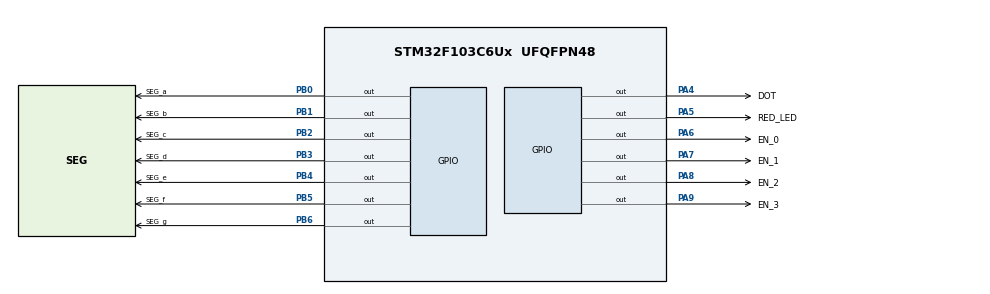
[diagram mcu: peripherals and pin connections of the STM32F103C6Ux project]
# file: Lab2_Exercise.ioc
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Mcu.Family=STM32F1
Mcu.Name=STM32F103C6Ux
Mcu.Package=UFQFPN48
NVIC.PriorityGroup=NVIC_PRIORITYGROUP_4
NVIC.TIM2_IRQn=true\:0\:0\:false\:false\:true\:true\:true
PA4.GPIO_Label=DOT
PA4.Signal=GPIO_Output
PA5.GPIO_Label=RED_LED
PA5.Signal=GPIO_Output
PA6.GPIO_Label=EN_0
PA6.Signal=GPIO_Output
PA7.GPIO_Label=EN_1
PA7.Signal=GPIO_Output
PA8.GPIO_Label=EN_2
PA8.Signal=GPIO_Output
PA9.GPIO_Label=EN_3
PA9.Signal=GPIO_Output
PB0.GPIO_Label=SEG_a
PB0.Signal=GPIO_Output
PB1.GPIO_Label=SEG_b
PB1.Signal=GPIO_Output
PB2.GPIO_Label=SEG_c
PB2.Signal=GPIO_Output
PB3.GPIO_Label=SEG_d
PB3.Signal=GPIO_Output
PB4.GPIO_Label=SEG_e
PB4.Signal=GPIO_Output
PB5.GPIO_Label=SEG_f
PB5.Signal=GPIO_Output
PB6.GPIO_Label=SEG_g
PB6.Signal=GPIO_Output
ProjectManager.HeapSize=0x200
ProjectManager.StackSize=0x400
ProjectManager.TargetToolchain=STM32CubeIDE
RCC.APB1Freq_Value=8000000
RCC.APB2Freq_Value=8000000
TIM2.Period=9
TIM2.Prescaler=7999
VP_SYS_VS_ND.Mode=No_Debug
VP_TIM2_VS_ClockSourceINT.Mode=Internal
board=custom

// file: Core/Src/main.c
/* USER CODE BEGIN Header */
/**
  ******************************************************************************
  * @file           : main.c
  * @brief          : Main program body
  ******************************************************************************
  * @attention
  *
  * <h2><center>&copy; Copyright (c) 2024 STMicroelectronics.
  * All rights reserved.</center></h2>
  *
  * This software component is licensed by ST under BSD 3-Clause license,
  * the "License"; You may not use this file except in compliance with the
  * License. You may obtain a copy of the License at:
  *                        opensource.org/licenses/BSD-3-Clause
  *
  ******************************************************************************
  */
/* USER CODE END Header */
#include "main.h"

TIM_HandleTypeDef htim2;

void SystemClock_Config(void);
static void MX_GPIO_Init(void);
static void MX_TIM2_Init(void);

/* USER CODE BEGIN 0 */
	void clear7SEG() {
		HAL_GPIO_WritePin(SEG_a_GPIO_Port, SEG_a_Pin, GPIO_PIN_SET);
		HAL_GPIO_WritePin(SEG_b_GPIO_Port, SEG_b_Pin, GPIO_PIN_SET);
		HAL_GPIO_WritePin(SEG_c_GPIO_Port, SEG_c_Pin, GPIO_PIN_SET);
		HAL_GPIO_WritePin(SEG_d_GPIO_Port, SEG_d_Pin, GPIO_PIN_SET);
		HAL_GPIO_WritePin(SEG_e_GPIO_Port, SEG_e_Pin, GPIO_PIN_SET);
		HAL_GPIO_WritePin(SEG_f_GPIO_Port, SEG_f_Pin, GPIO_PIN_SET);
		HAL_GPIO_WritePin(SEG_g_GPIO_Port, SEG_g_Pin, GPIO_PIN_SET);
	}

	void display7SEG(int num) {
		  switch (num) {
		  case 0:
			  HAL_GPIO_WritePin(SEG_a_GPIO_Port, SEG_a_Pin, GPIO_PIN_RESET);
			  HAL_GPIO_WritePin(SEG_b_GPIO_Port, SEG_b_Pin, GPIO_PIN_RESET);
			  HAL_GPIO_WritePin(SEG_c_GPIO_Port, SEG_c_Pin, GPIO_PIN_RESET);
			  HAL_GPIO_WritePin(SEG_d_GPIO_Port, SEG_d_Pin, GPIO_PIN_RESET);
			  HAL_GPIO_WritePin(SEG_e_GPIO_Port, SEG_e_Pin, GPIO_PIN_RESET);
			  HAL_GPIO_WritePin(SEG_f_GPIO_Port, SEG_f_Pin, GPIO_PIN_RESET);
			  HAL_GPIO_WritePin(SEG_g_GPIO_Port, SEG_g_Pin, GPIO_PIN_SET);

			  break;
		  case 1:
			  HAL_GPIO_WritePin(SEG_a_GPIO_Port, SEG_a_Pin, GPIO_PIN_SET);
			  HAL_GPIO_WritePin(SEG_b_GPIO_Port, SEG_b_Pin, GPIO_PIN_RESET);
			  HAL_GPIO_WritePin(SEG_c_GPIO_Port, SEG_c_Pin, GPIO_PIN_RESET);
			  HAL_GPIO_WritePin(SEG_d_GPIO_Port, SEG_d_Pin, GPIO_PIN_SET);
			  HAL_GPIO_WritePin(SEG_e_GPIO_Port, SEG_e_Pin, GPIO_PIN_SET);
			  HAL_GPIO_WritePin(SEG_f_GPIO_Port, SEG_f_Pin, GPIO_PIN_SET);
			  HAL_GPIO_WritePin(SEG_g_GPIO_Port, SEG_g_Pin, GPIO_PIN_SET);

			  break;
		  case 2:
			  HAL_GPIO_WritePin(SEG_a_GPIO_Port, SEG_a_Pin, GPIO_PIN_RESET);
			  HAL_GPIO_WritePin(SEG_b_GPIO_Port, SEG_b_Pin, GPIO_PIN_RESET);
			  HAL_GPIO_WritePin(SEG_c_GPIO_Port, SEG_c_Pin, GPIO_PIN_SET);
			  HAL_GPIO_WritePin(SEG_d_GPIO_Port, SEG_d_Pin, GPIO_PIN_RESET);
			  HAL_GPIO_WritePin(SEG_e_GPIO_Port, SEG_e_Pin, GPIO_PIN_RESET);
			  HAL_GPIO_WritePin(SEG_f_GPIO_Port, SEG_f_Pin, GPIO_PIN_SET);
			  HAL_GPIO_WritePin(SEG_g_GPIO_Port, SEG_g_Pin, GPIO_PIN_RESET);

			  break;
		  case 3:
			  HAL_GPIO_WritePin(SEG_a_GPIO_Port, SEG_a_Pin, GPIO_PIN_RESET);
			  HAL_GPIO_WritePin(SEG_b_GPIO_Port, SEG_b_Pin, GPIO_PIN_RESET);
			  HAL_GPIO_WritePin(SEG_c_GPIO_Port, SEG_c_Pin, GPIO_PIN_RESET);
			  HAL_GPIO_WritePin(SEG_d_GPIO_Port, SEG_d_Pin, GPIO_PIN_RESET);
			  HAL_GPIO_WritePin(SEG_e_GPIO_Port, SEG_e_Pin, GPIO_PIN_SET);
			  HAL_GPIO_WritePin(SEG_f_GPIO_Port, SEG_f_Pin, GPIO_PIN_SET);
			  HAL_GPIO_WritePin(SEG_g_GPIO_Port, SEG_g_Pin, GPIO_PIN_RESET);

			  break;
		  case 4:
			  HAL_GPIO_WritePin(SEG_a_GPIO_Port, SEG_a_Pin, GPIO_PIN_SET);
			  HAL_GPIO_WritePin(SEG_b_GPIO_Port, SEG_b_Pin, GPIO_PIN_RESET);
			  HAL_GPIO_WritePin(SEG_c_GPIO_Port, SEG_c_Pin, GPIO_PIN_RESET);
			  HAL_GPIO_WritePin(SEG_d_GPIO_Port, SEG_d_Pin, GPIO_PIN_SET);
			  HAL_GPIO_WritePin(SEG_e_GPIO_Port, SEG_e_Pin, GPIO_PIN_SET);
			  HAL_GPIO_WritePin(SEG_f_GPIO_Port, SEG_f_Pin, GPIO_PIN_RESET);
			  HAL_GPIO_WritePin(SEG_g_GPIO_Port, SEG_g_Pin, GPIO_PIN_RESET);

			  break;
		  case 5:
			  HAL_GPIO_WritePin(SEG_a_GPIO_Port, SEG_a_Pin, GPIO_PIN_RESET);
			  HAL_GPIO_WritePin(SEG_b_GPIO_Port, SEG_b_Pin, GPIO_PIN_SET);
			  HAL_GPIO_WritePin(SEG_c_GPIO_Port, SEG_c_Pin, GPIO_PIN_RESET);
			  HAL_GPIO_WritePin(SEG_d_GPIO_Port, SEG_d_Pin, GPIO_PIN_RESET);
			  HAL_GPIO_WritePin(SEG_e_GPIO_Port, SEG_e_Pin, GPIO_PIN_SET);
			  HAL_GPIO_WritePin(SEG_f_GPIO_Port, SEG_f_Pin, GPIO_PIN_RESET);
			  HAL_GPIO_WritePin(SEG_g_GPIO_Port, SEG_g_Pin, GPIO_PIN_RESET);

			  break;
		  case 6:
			  HAL_GPIO_WritePin(SEG_a_GPIO_Port, SEG_a_Pin, GPIO_PIN_RESET);
			  HAL_GPIO_WritePin(SEG_b_GPIO_Port, SEG_b_Pin, GPIO_PIN_SET);
			  HAL_GPIO_WritePin(SEG_c_GPIO_Port, SEG_c_Pin, GPIO_PIN_RESET);
			  HAL_GPIO_WritePin(SEG_d_GPIO_Port, SEG_d_Pin, GPIO_PIN_RESET);
			  HAL_GPIO_WritePin(SEG_e_GPIO_Port, SEG_e_Pin, GPIO_PIN_RESET);
			  HAL_GPIO_WritePin(SEG_f_GPIO_Port, SEG_f_Pin, GPIO_PIN_RESET);
			  HAL_GPIO_WritePin(SEG_g_GPIO_Port, SEG_g_Pin, GPIO_PIN_RESET);

			  break;

		  case 7:
			  HAL_GPIO_WritePin(SEG_a_GPIO_Port, SEG_a_Pin, GPIO_PIN_RESET);
			  HAL_GPIO_WritePin(SEG_b_GPIO_Port, SEG_b_Pin, GPIO_PIN_RESET);
			  HAL_GPIO_WritePin(SEG_c_GPIO_Port, SEG_c_Pin, GPIO_PIN_RESET);
			  HAL_GPIO_WritePin(SEG_d_GPIO_Port, SEG_d_Pin, GPIO_PIN_SET);
			  HAL_GPIO_WritePin(SEG_e_GPIO_Port, SEG_e_Pin, GPIO_PIN_SET);
			  HAL_GPIO_WritePin(SEG_f_GPIO_Port, SEG_f_Pin, GPIO_PIN_SET);
			  HAL_GPIO_WritePin(SEG_g_GPIO_Port, SEG_g_Pin, GPIO_PIN_SET);

			  break;
		  case 8:
			  HAL_GPIO_WritePin(SEG_a_GPIO_Port, SEG_a_Pin, GPIO_PIN_RESET);
			  HAL_GPIO_WritePin(SEG_b_GPIO_Port, SEG_b_Pin, GPIO_PIN_RESET);
			  HAL_GPIO_WritePin(SEG_c_GPIO_Port, SEG_c_Pin, GPIO_PIN_RESET);
			  HAL_GPIO_WritePin(SEG_d_GPIO_Port, SEG_d_Pin, GPIO_PIN_RESET);
			  HAL_GPIO_WritePin(SEG_e_GPIO_Port, SEG_e_Pin, GPIO_PIN_RESET);
			  HAL_GPIO_WritePin(SEG_f_GPIO_Port, SEG_f_Pin, GPIO_PIN_RESET);
			  HAL_GPIO_WritePin(SEG_g_GPIO_Port, SEG_g_Pin, GPIO_PIN_RESET);

			  break;
		  case 9:
			  HAL_GPIO_WritePin(SEG_a_GPIO_Port, SEG_a_Pin, GPIO_PIN_RESET);
			  HAL_GPIO_WritePin(SEG_b_GPIO_Port, SEG_b_Pin, GPIO_PIN_RESET);
			  HAL_GPIO_WritePin(SEG_c_GPIO_Port, SEG_c_Pin, GPIO_PIN_RESET);
			  HAL_GPIO_WritePin(SEG_d_GPIO_Port, SEG_d_Pin, GPIO_PIN_RESET);
			  HAL_GPIO_WritePin(SEG_e_GPIO_Port, SEG_e_Pin, GPIO_PIN_SET);
			  HAL_GPIO_WritePin(SEG_f_GPIO_Port, SEG_f_Pin, GPIO_PIN_RESET);
			  HAL_GPIO_WritePin(SEG_g_GPIO_Port, SEG_g_Pin, GPIO_PIN_RESET);

			  break;
		  default:
			  clear7SEG();
			  break;
		  }
	  }

	void initState () {
		clear7SEG();

		HAL_GPIO_WritePin(EN_0_GPIO_Port, EN_0_Pin, GPIO_PIN_SET);
		HAL_GPIO_WritePin(EN_1_GPIO_Port, EN_1_Pin, GPIO_PIN_SET);
		HAL_GPIO_WritePin(EN_2_GPIO_Port, EN_2_Pin, GPIO_PIN_SET);
		HAL_GPIO_WritePin(EN_3_GPIO_Port, EN_3_Pin, GPIO_PIN_SET);
	}

	const int MAX_LED = 4;
	int ledIdx = 0;
	int ledBuffer[4] = {1,2,3,4};

	void update7SEG(int index) {
		switch (index) {
		case 0:
			// Display the first 7SEG with ledBuffer[0]
			display7SEG(ledBuffer[0]);
			HAL_GPIO_WritePin(EN_0_GPIO_Port, EN_0_Pin, GPIO_PIN_RESET);
			HAL_GPIO_WritePin(EN_1_GPIO_Port, EN_1_Pin, GPIO_PIN_SET);
			HAL_GPIO_WritePin(EN_2_GPIO_Port, EN_2_Pin, GPIO_PIN_SET);
			HAL_GPIO_WritePin(EN_3_GPIO_Port, EN_3_Pin, GPIO_PIN_SET);
			break;
		case 1:
			// Display the second 7SEG with ledBuffer[1]
			display7SEG(ledBuffer[1]);
			HAL_GPIO_WritePin(EN_0_GPIO_Port, EN_0_Pin, GPIO_PIN_SET);
			HAL_GPIO_WritePin(EN_1_GPIO_Port, EN_1_Pin, GPIO_PIN_RESET);
			HAL_GPIO_WritePin(EN_2_GPIO_Port, EN_2_Pin, GPIO_PIN_SET);
			HAL_GPIO_WritePin(EN_3_GPIO_Port, EN_3_Pin, GPIO_PIN_SET);
			break;
		case 2:
			// Display the third 7SEG with ledBuffer[2]
			display7SEG(ledBuffer[2]);
			HAL_GPIO_WritePin(EN_0_GPIO_Port, EN_0_Pin, GPIO_PIN_SET);
			HAL_GPIO_WritePin(EN_1_GPIO_Port, EN_1_Pin, GPIO_PIN_SET);
			HAL_GPIO_WritePin(EN_2_GPIO_Port, EN_2_Pin, GPIO_PIN_RESET);
			HAL_GPIO_WritePin(EN_3_GPIO_Port, EN_3_Pin, GPIO_PIN_SET);
			break;
		case 3:
			// Display the fourth 7SEG with ledBuffer[3]
			display7SEG(ledBuffer[3]);
			HAL_GPIO_WritePin(EN_0_GPIO_Port, EN_0_Pin, GPIO_PIN_SET);
			HAL_GPIO_WritePin(EN_1_GPIO_Port, EN_1_Pin, GPIO_PIN_SET);
			HAL_GPIO_WritePin(EN_2_GPIO_Port, EN_2_Pin, GPIO_PIN_SET);
			HAL_GPIO_WritePin(EN_3_GPIO_Port, EN_3_Pin, GPIO_PIN_RESET);
			break;
		}
	}

	void updateClockBuffer(int hour, int minute) {
		ledBuffer[0] = hour / 10;
		ledBuffer[1] = hour % 10;
		ledBuffer[2] = minute / 10;
		ledBuffer[3] = minute % 10;
	}
//-----------Ex8-----------------
	int TIMER_CYCLE = 10;

	int timer0_counter = 0;
	int timer0_flag = 1;

	void setTimer0(int duration) {
		timer0_counter = duration / TIMER_CYCLE;
		timer0_flag = 0;
	}

	int timer1_counter = 0;
	int timer1_flag = 1;

	void setTimer1(int duration) {
		timer1_counter = duration / TIMER_CYCLE;
		timer1_flag = 0;
	}

	void timerRun() {
		if (timer0_counter > 0) {
			timer0_counter--;
			if (timer0_counter == 0) timer0_flag = 1;
		}
		if (timer1_counter > 0) {
			timer1_counter--;
			if (timer1_counter == 0) timer1_flag = 1;
		}
	}

/* USER CODE END 0 */

int main(void)
{

  /* MCU Configuration--------------------------------------------------------*/

  /* Reset of all peripherals, Initializes the Flash interface and the Systick. */
  HAL_Init();

  /* Configure the system clock */
  SystemClock_Config();

  /* Initialize all configured peripherals */
  MX_GPIO_Init();
  MX_TIM2_Init();
  /* USER CODE BEGIN 2 */

  HAL_TIM_Base_Start_IT(&htim2);
  initState();

  /* USER CODE END 2 */

  /* Infinite loop */
  /* USER CODE BEGIN WHILE */
  int hour = 8, minute = 26, second = 50;
  int duration = 1000;
  while (1)
  {
	  //HAL_GPIO_TogglePin(DOT_GPIO_Port, DOT_Pin);
    /* USER CODE END WHILE */

    /* USER CODE BEGIN 3 */
	  if (timer0_flag == 1) {
		  HAL_GPIO_TogglePin(DOT_GPIO_Port, DOT_Pin);

		  second++;
		  if (second >= 60) {
			  second = 0;
			  minute++;
		  }
		  if (minute >= 60) {
			  minute = 0;
			  hour++;
		  }
		  if (hour >= 24) {
			  hour = 0;
		  }
		  updateClockBuffer(hour, minute);

		  setTimer0(duration);
	  }
	  if (timer1_flag == 1) {
		  update7SEG(ledIdx++);
		  if (!(ledIdx < MAX_LED)) ledIdx = 0;

		  setTimer1(duration/MAX_LED);
	  }
  }
  /* USER CODE END 3 */
}

void SystemClock_Config(void)
{
  RCC_OscInitTypeDef RCC_OscInitStruct = {0};
  RCC_ClkInitTypeDef RCC_ClkInitStruct = {0};

  /** Initializes the RCC Oscillators according to the specified parameters
  * in the RCC_OscInitTypeDef structure.
  */
  RCC_OscInitStruct.OscillatorType = RCC_OSCILLATORTYPE_HSI;
  RCC_OscInitStruct.HSIState = RCC_HSI_ON;
  RCC_OscInitStruct.HSICalibrationValue = RCC_HSICALIBRATION_DEFAULT;
  RCC_OscInitStruct.PLL.PLLState = RCC_PLL_NONE;
  if (HAL_RCC_OscConfig(&RCC_OscInitStruct) != HAL_OK)
  {
    Error_Handler();
  }
  /** Initializes the CPU, AHB and APB buses clocks
  */
  RCC_ClkInitStruct.ClockType = RCC_CLOCKTYPE_HCLK|RCC_CLOCKTYPE_SYSCLK
                              |RCC_CLOCKTYPE_PCLK1|RCC_CLOCKTYPE_PCLK2;
  RCC_ClkInitStruct.SYSCLKSource = RCC_SYSCLKSOURCE_HSI;
  RCC_ClkInitStruct.AHBCLKDivider = RCC_SYSCLK_DIV1;
  RCC_ClkInitStruct.APB1CLKDivider = RCC_HCLK_DIV1;
  RCC_ClkInitStruct.APB2CLKDivider = RCC_HCLK_DIV1;

  if (HAL_RCC_ClockConfig(&RCC_ClkInitStruct, FLASH_LATENCY_0) != HAL_OK)
  {
    Error_Handler();
  }
}

static void MX_TIM2_Init(void)
{

  TIM_ClockConfigTypeDef sClockSourceConfig = {0};
  TIM_MasterConfigTypeDef sMasterConfig = {0};

  htim2.Instance = TIM2;
  htim2.Init.Prescaler = 7999;
  htim2.Init.CounterMode = TIM_COUNTERMODE_UP;
  htim2.Init.Period = 9;
  htim2.Init.ClockDivision = TIM_CLOCKDIVISION_DIV1;
  htim2.Init.AutoReloadPreload = TIM_AUTORELOAD_PRELOAD_DISABLE;
  if (HAL_TIM_Base_Init(&htim2) != HAL_OK)
  {
    Error_Handler();
  }
  sClockSourceConfig.ClockSource = TIM_CLOCKSOURCE_INTERNAL;
  if (HAL_TIM_ConfigClockSource(&htim2, &sClockSourceConfig) != HAL_OK)
  {
    Error_Handler();
  }
  sMasterConfig.MasterOutputTrigger = TIM_TRGO_RESET;
  sMasterConfig.MasterSlaveMode = TIM_MASTERSLAVEMODE_DISABLE;
  if (HAL_TIMEx_MasterConfigSynchronization(&htim2, &sMasterConfig) != HAL_OK)
  {
    Error_Handler();
  }

}

static void MX_GPIO_Init(void)
{
  GPIO_InitTypeDef GPIO_InitStruct = {0};

  /* GPIO Ports Clock Enable */
  __HAL_RCC_GPIOA_CLK_ENABLE();
  __HAL_RCC_GPIOB_CLK_ENABLE();

  /*Configure GPIO pin Output Level */
  HAL_GPIO_WritePin(GPIOA, DOT_Pin|RED_LED_Pin|EN_0_Pin|EN_1_Pin
                          |EN_2_Pin|EN_3_Pin, GPIO_PIN_RESET);

  /*Configure GPIO pin Output Level */
  HAL_GPIO_WritePin(GPIOB, SEG_a_Pin|SEG_b_Pin|SEG_c_Pin|SEG_d_Pin
                          |SEG_e_Pin|SEG_f_Pin|SEG_g_Pin, GPIO_PIN_RESET);

  /*Configure GPIO pins : DOT_Pin RED_LED_Pin EN_0_Pin EN_1_Pin
                           EN_2_Pin EN_3_Pin */
  GPIO_InitStruct.Pin = DOT_Pin|RED_LED_Pin|EN_0_Pin|EN_1_Pin
                          |EN_2_Pin|EN_3_Pin;
  GPIO_InitStruct.Mode = GPIO_MODE_OUTPUT_PP;
  GPIO_InitStruct.Pull = GPIO_NOPULL;
  GPIO_InitStruct.Speed = GPIO_SPEED_FREQ_LOW;
  HAL_GPIO_Init(GPIOA, &GPIO_InitStruct);

  /*Configure GPIO pins : SEG_a_Pin SEG_b_Pin SEG_c_Pin SEG_d_Pin
                           SEG_e_Pin SEG_f_Pin SEG_g_Pin */
  GPIO_InitStruct.Pin = SEG_a_Pin|SEG_b_Pin|SEG_c_Pin|SEG_d_Pin
                          |SEG_e_Pin|SEG_f_Pin|SEG_g_Pin;
  GPIO_InitStruct.Mode = GPIO_MODE_OUTPUT_PP;
  GPIO_InitStruct.Pull = GPIO_NOPULL;
  GPIO_InitStruct.Speed = GPIO_SPEED_FREQ_LOW;
  HAL_GPIO_Init(GPIOB, &GPIO_InitStruct);

}

/* USER CODE BEGIN 4 */
// Ex 4
const unsigned int scale = 100;
int counter = scale;
void HAL_TIM_PeriodElapsedCallback(TIM_HandleTypeDef *htim) {
	timerRun();
	/*
	if (counter == (scale)) {
		update7SEG(ledIdx++);
	} else if (counter == (scale * 3/4)) {
		update7SEG(ledIdx++);
	} else if (counter == (scale * 2/4)) {
		update7SEG(ledIdx++);
	} else if (counter == (scale * 1/4)) {
		update7SEG(ledIdx++);
	}

	if (!(ledIdx < MAX_LED)) ledIdx = 0;

	counter = (counter > 0) ? counter - 1 : 200;
	*/
}
/* USER CODE END 4 */

void Error_Handler(void)
{
  __disable_irq();
  while (1)
  {
  }
}

/************************ (C) COPYRIGHT STMicroelectronics *****END OF FILE****/
